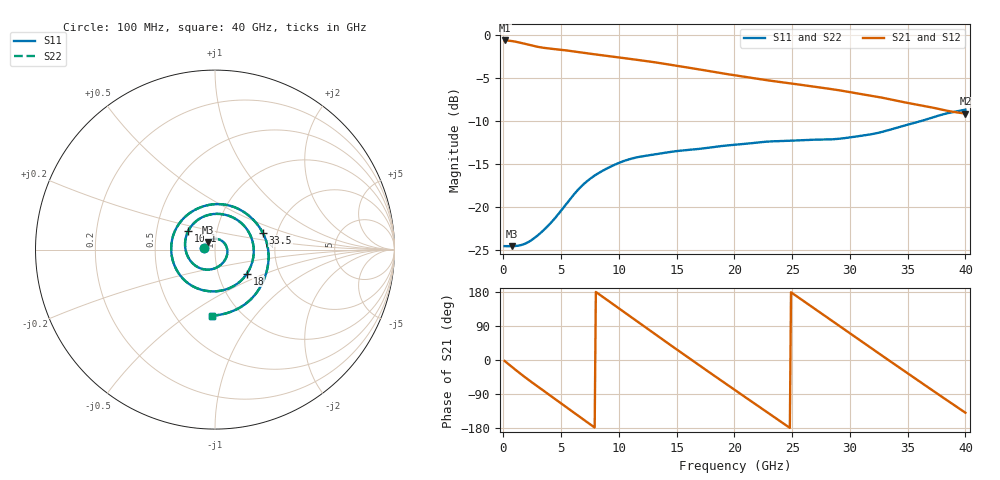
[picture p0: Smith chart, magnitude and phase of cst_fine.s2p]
! D_s8_stitch_none: L1 (ref L2) → L8 (ref L7), no stitching via
! stackup: 8-layer 1.6 mm FR-4 (generic)
! ports: 1, 2
! CST Studio Suite 2025.5 Release from 2025-05-30, time domain (FIT, hexahedral, PBA), 581504 mesh cells, 92 s
! mesh: {'lpw': 30.0, 'lpb': 30.0, 'minstep': 0.0, 'ratio': 20}; ports: port 1 (face); port 2 (face)
! interpolated from CST's 1001 samples to the case grid
# Hz S RI R 50
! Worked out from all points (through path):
!   400 points, 100 MHz to 40 GHz, reference 50 ohm
!   highest |S21| = -0.64 dB at 100 MHz (marker M1); lowest = -9.1 dB at 40 GHz (marker M2)
!   group delay of S21, straight-line fit = 59.3 ps
!   lowest |S11| = -24.5 dB at 700 MHz (marker M3), VSWR 1.13, Z = 45.9 + j3.96 ohm
!   |S11| at or under -10 dB: start of sweep to 36.15 GHz
!   |S22| runs from -24.5 to -8.7 dB; largest |S21 - S12| = 2.2e-07
!   S11 on the Smith chart (normalised r, x): 100 MHz: 0.89, +0.01; 10.1 GHz: 0.73, +0.16; 18 GHz: 1.37, -0.39; 33.5 GHz: 1.69, +0.34; 40 GHz: 0.74, -0.63
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1e8  -0.0591 0.00686  0.9285 -0.0406  0.9285 -0.0406  -0.0591 0.00686
7e8  -0.041 0.043  0.8798 -0.2767  0.8798 -0.2767  -0.041 0.043
2.2e9  0.0493 0.0394  0.527 -0.7  0.527 -0.7  0.0493 0.0393
3.7e9  0.063 -0.0425  0.058 -0.8365  0.058 -0.8365  0.063 -0.0425
5.1e9  0.016 -0.0963  -0.3697 -0.7306  -0.3697 -0.7306  0.016 -0.0963
6.8e9  -0.0846 -0.103  -0.712 -0.3422  -0.712 -0.3422  -0.0846 -0.103
8.4e9  -0.1589 -0.0206  -0.7554 0.1214  -0.7554 0.1214  -0.1589 -0.0206
1.01e10  -0.148 0.1061  -0.5122 0.5334  -0.5122 0.5334  -0.148 0.1061
1.18e10  -0.0408 0.192  -0.0875 0.7083  -0.0875 0.7083  -0.0408 0.192
1.34e10  0.0898 0.1834  0.3199 0.6107  0.3199 0.6107  0.0898 0.1834
1.57e10  0.21 0.0421  0.6344 0.1457  0.6344 0.1457  0.21 0.0421
1.8e10  0.1778 -0.1341  0.4959 -0.3621  0.4959 -0.3621  0.1778 -0.1341
2.01e10  0.0446 -0.2263  0.0972 -0.5746  0.0972 -0.5746  0.0446 -0.2263
2.17e10  -0.0786 -0.223  -0.2294 -0.5119  -0.2294 -0.5119  -0.0786 -0.223
2.36e10  -0.2011 -0.1343  -0.4826 -0.236  -0.4826 -0.236  -0.2011 -0.1343
2.67e10  -0.2182 0.1144  -0.3889 0.3184  -0.3889 0.3184  -0.2182 0.1144
2.97e10  -0.00746 0.2526  0.1059 0.4576  0.1059 0.4576  -0.00746 0.2526
3.17e10  0.162 0.2087  0.3664 0.2534  0.3664 0.2534  0.162 0.2087
3.34e10  0.2626 0.1001  0.4242 -0.0111  0.4242 -0.0111  0.2626 0.1001
3.35e10  0.2668 0.0922  0.4221 -0.0266  0.4221 -0.0266  0.2668 0.0922
3.68e10  0.256 -0.2022  0.1135 -0.3661  0.1135 -0.3661  0.256 -0.2022
4e10  -0.0173 -0.3681  -0.2643 -0.229  -0.2643 -0.229  -0.0173 -0.3681
